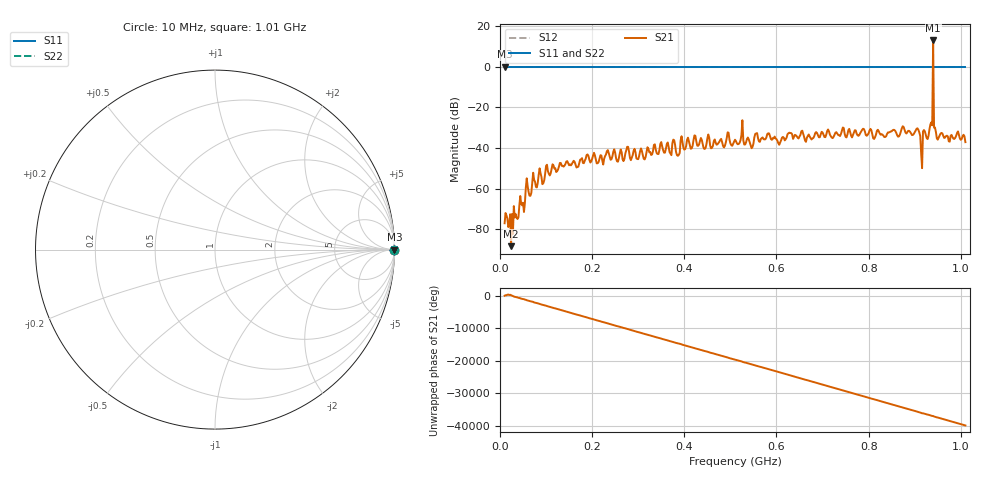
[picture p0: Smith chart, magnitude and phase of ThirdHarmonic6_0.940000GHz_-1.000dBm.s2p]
! 8/16/2025 6:35:43 AM
! C:\ANRITSUVNA\TEMP\TEMP.S2P
! CHANNEL.1
! TR.MEASUREMENT
! RAW.DATA
! RF.CORRECTION.OFF
! AVERAGING.OFF
! IF.BANDWIDTH: 5KHZ
! SWEEPTYPE:  FREQ.SWEEP(Linear)
! Reference Plane Port Info
! PORT:  PORT1  PORT2
! DISTANCE:  0  m  0  m
! TIME:  0  s  0  s
! PHASE.OFFSET:  0  deg.  0  deg.
! LOSS:  0  dB  0  dB
! REF.LOSS:  0  dB  0  dB
! REF.FREQ:  0  Hz  0  Hz
! Power Info
! POWER:  -20  dBm  -20  dBm
! EFF.POWER:  -20  dBm  -20  dBm
! SOURCE.ATTEN:  0  dB  0  dB
! TEST.ATTEN:  0  dB  0  dB
# GHZ S RI R 50.0
! FREQ.GHZ  S11RE  S11IM  S21RE  S21IM  S12RE  S12IM  S22RE  S22IM
!; PortSelection: Port_12
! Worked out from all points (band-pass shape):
!   501 points, 10 MHz to 1.01 GHz, reference 50 ohm
!   highest |S21| = 12.91 dB at 940 MHz (marker M1); lowest = -88.3 dB at 24 MHz (marker M2)
!   |S21| within 3 dB of the highest: 939.8564 MHz to 940.1397 MHz (283.4 kHz wide, 0.0301 % of centre)
!   lowest |S11| = 0.0 dB at 10 MHz (marker M3)
!   |S11| at or under -10 dB: nowhere
!   |S22| runs from 0.0 to 0.0 dB; largest |S21 - S12| = 4.6
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0.01  1 0  7.68e-05 -0.000118  1 0  1 0
0.024  1 0  -1.07e-05 3.7e-05  1 0  1 0
0.05  1 0  0.00045 3.25e-05  1 0  1 0
0.058  1 0  0.00177 0.000315  1 0  1 0
0.086  1 0  0.00226 -0.00222  1 0  1 0
0.178  1 0  -0.00563 0.000308  1 0  1 0
0.344  1 0  0.0069 -0.00171  1 0  1 0
0.378  1 0  0.0129 0.00882  1 0  1 0
0.386  1 0  0.00047 0.0064  1 0  1 0
0.394  1 0  -0.0113 0.0159  1 0  1 0
0.422  1 0  0.00254 0.0203  1 0  1 0
0.51  1 0  -0.0103 0.0123  1 0  1 0
0.678  1 0  -0.0161 -0.0061  1 0  1 0
0.844  1 0  0.0218 -0.0103  1 0  1 0
0.906  1 0  0.0277 -0.0127  1 0  1 0
0.914  1 0  0.00723 -0.00165  1 0  1 0
0.934  1 0  0.0227 -0.0306  1 0  1 0
0.936  1 0  -0.0374 -0.0205  1 0  1 0
0.94  1 0  -0.5037 4.394  1 0  1 0
0.944  1 0  -0.0249 -0.0201  1 0  1 0
0.946  1 0  -0.0145 0.0201  1 0  1 0
1.01  1 0  0.00196 0.0138  1 0  1 0
